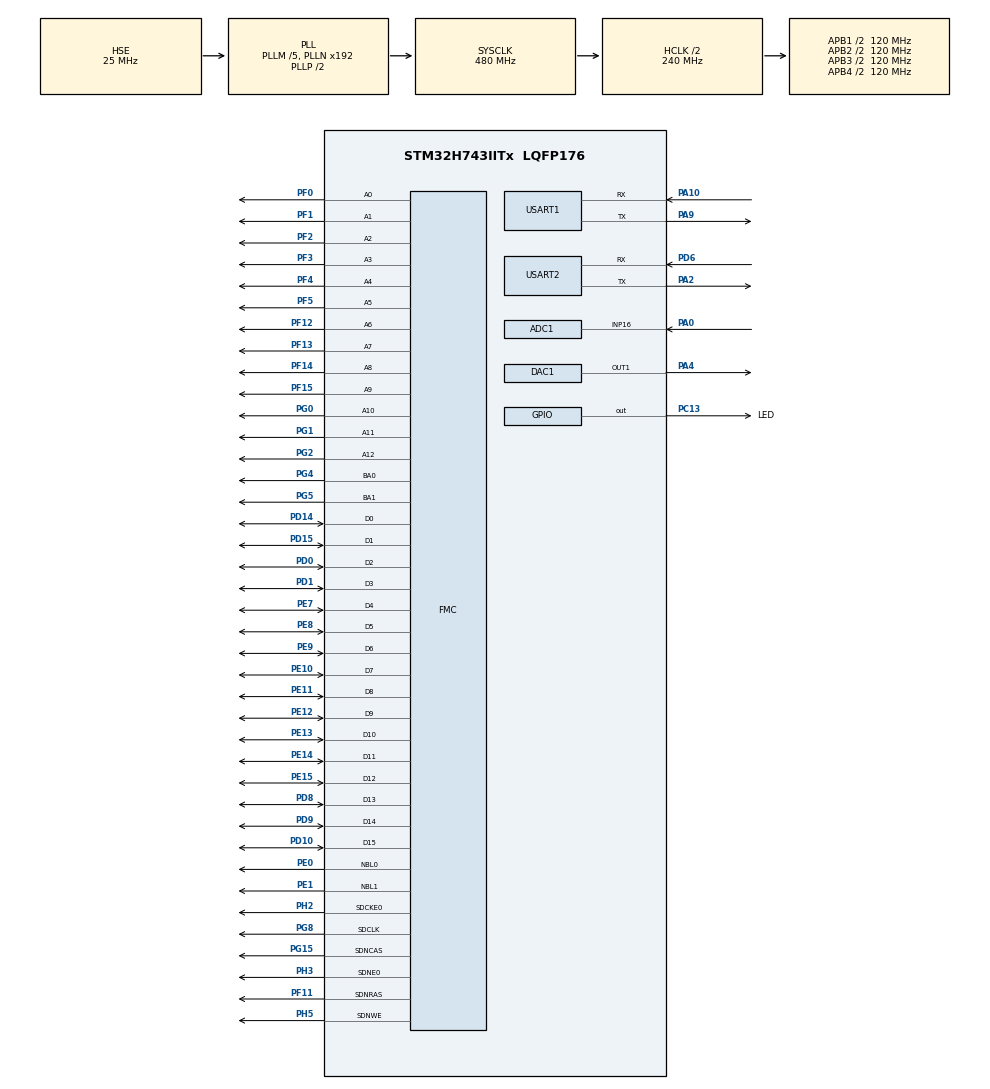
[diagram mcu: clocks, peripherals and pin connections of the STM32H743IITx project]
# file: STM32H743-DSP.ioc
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ADC1.Channel-0\#ChannelRegularConversion=ADC_CHANNEL_16
ADC1.ClockPrescaler=ADC_CLOCK_ASYNC_DIV2
ADC1.ConversionDataManagement=ADC_CONVERSIONDATA_DMA_CIRCULAR
ADC1.EOCSelection=ADC_EOC_SEQ_CONV
ADC1.ExternalTrigConv=ADC_EXTERNALTRIG_T8_TRGO
ADC1.NbrOfConversion=1
ADC1.NbrOfConversionFlag=1
ADC1.OffsetNumber-0\#ChannelRegularConversion=ADC_OFFSET_NONE
ADC1.OffsetSignedSaturation-0\#ChannelRegularConversion=DISABLE
ADC1.Rank-0\#ChannelRegularConversion=1
ADC1.SamplingTime-0\#ChannelRegularConversion=ADC_SAMPLETIME_64CYCLES_5
ADC1.master=1
CORTEX_M7.CPU_DCache=Enabled
CORTEX_M7.CPU_ICache=Enabled
CORTEX_M7.default_mode_Activation=1
DAC1.DAC_Channel-DAC_OUT1=DAC_CHANNEL_1
DAC1.DAC_Trigger-DAC_OUT1=DAC_TRIGGER_T8_TRGO
Dma.ADC1.0.Direction=DMA_PERIPH_TO_MEMORY
Dma.ADC1.0.EventEnable=DISABLE
Dma.ADC1.0.FIFOMode=DMA_FIFOMODE_DISABLE
Dma.ADC1.0.Instance=DMA1_Stream0
Dma.ADC1.0.MemDataAlignment=DMA_MDATAALIGN_HALFWORD
Dma.ADC1.0.MemInc=DMA_MINC_ENABLE
Dma.ADC1.0.Mode=DMA_CIRCULAR
Dma.ADC1.0.PeriphDataAlignment=DMA_PDATAALIGN_HALFWORD
Dma.ADC1.0.PeriphInc=DMA_PINC_DISABLE
Dma.ADC1.0.Polarity=HAL_DMAMUX_REQ_GEN_RISING
Dma.ADC1.0.Priority=DMA_PRIORITY_HIGH
Dma.ADC1.0.RequestNumber=1
Dma.ADC1.0.SignalID=NONE
Dma.ADC1.0.SyncEnable=DISABLE
Dma.ADC1.0.SyncPolarity=HAL_DMAMUX_SYNC_NO_EVENT
Dma.ADC1.0.SyncRequestNumber=1
Dma.ADC1.0.SyncSignalID=NONE
Dma.DAC1_CH1.1.Direction=DMA_MEMORY_TO_PERIPH
Dma.DAC1_CH1.1.EventEnable=DISABLE
Dma.DAC1_CH1.1.FIFOMode=DMA_FIFOMODE_DISABLE
Dma.DAC1_CH1.1.Instance=DMA1_Stream1
Dma.DAC1_CH1.1.MemDataAlignment=DMA_MDATAALIGN_HALFWORD
Dma.DAC1_CH1.1.MemInc=DMA_MINC_ENABLE
Dma.DAC1_CH1.1.Mode=DMA_CIRCULAR
Dma.DAC1_CH1.1.PeriphDataAlignment=DMA_PDATAALIGN_HALFWORD
Dma.DAC1_CH1.1.PeriphInc=DMA_PINC_DISABLE
Dma.DAC1_CH1.1.Polarity=HAL_DMAMUX_REQ_GEN_RISING
Dma.DAC1_CH1.1.Priority=DMA_PRIORITY_LOW
Dma.DAC1_CH1.1.RequestNumber=1
Dma.DAC1_CH1.1.SignalID=NONE
Dma.DAC1_CH1.1.SyncEnable=DISABLE
Dma.DAC1_CH1.1.SyncPolarity=HAL_DMAMUX_SYNC_NO_EVENT
Dma.DAC1_CH1.1.SyncRequestNumber=1
Dma.DAC1_CH1.1.SyncSignalID=NONE
Dma.Request0=ADC1
Dma.Request1=DAC1_CH1
FMC.CASLatency1=FMC_SDRAM_CAS_LATENCY_3
FMC.ColumnBitsNumber1=FMC_SDRAM_COLUMN_BITS_NUM_9
FMC.ExitSelfRefreshDelay1=7
FMC.LoadToActiveDelay1=2
FMC.RCDDelay1=2
FMC.RPDelay1=2
FMC.ReadBurst1=FMC_SDRAM_RBURST_ENABLE
FMC.ReadPipeDelay1=FMC_SDRAM_RPIPE_DELAY_2
FMC.RowCycleDelay1=7
FMC.SDClockPeriod1=FMC_SDRAM_CLOCK_PERIOD_2
FMC.SelfRefreshTime1=4
FMC.WriteRecoveryTime1=3
Mcu.Family=STM32H7
Mcu.Name=STM32H743IITx
Mcu.Package=LQFP176
NVIC.ADC_IRQn=true\:0\:0\:false\:false\:true\:true\:true\:true
NVIC.DMA1_Stream0_IRQn=true\:0\:0\:false\:false\:true\:false\:true\:true
NVIC.DMA1_Stream1_IRQn=true\:0\:0\:false\:false\:true\:false\:true\:true
NVIC.PriorityGroup=NVIC_PRIORITYGROUP_4
NVIC.TIM6_DAC_IRQn=true\:0\:0\:false\:false\:true\:true\:true\:true
NVIC.USART1_IRQn=true\:0\:0\:false\:false\:true\:true\:true\:true
NVIC.USART2_IRQn=true\:0\:0\:false\:false\:true\:true\:true\:true
PA0.Mode=IN16-Single-Ended
PA0.Signal=ADC1_INP16
PA10.Mode=Asynchronous
PA10.Signal=USART1_RX
PA13\ (JTMS/SWDIO).Mode=Serial_Wire
PA13\ (JTMS/SWDIO).Signal=DEBUG_JTMS-SWDIO
PA14\ (JTCK/SWCLK).Mode=Serial_Wire
PA14\ (JTCK/SWCLK).Signal=DEBUG_JTCK-SWCLK
PA2.GPIO_Speed=GPIO_SPEED_FREQ_HIGH
PA2.Mode=Asynchronous
PA2.Signal=USART2_TX
PA4.Signal=COMP_DAC11_group
PA9.Mode=Asynchronous
PA9.Signal=USART1_TX
PC13.GPIO_Label=LED
PC13.Signal=GPIO_Output
PD0.Signal=FMC_D2_DA2
PD1.Signal=FMC_D3_DA3
PD10.Signal=FMC_D15_DA15
PD14.Signal=FMC_D0_DA0
PD15.Signal=FMC_D1_DA1
PD6.GPIO_Speed=GPIO_SPEED_FREQ_HIGH
PD6.Mode=Asynchronous
PD6.Signal=USART2_RX
PD8.Signal=FMC_D13_DA13
PD9.Signal=FMC_D14_DA14
PE0.Signal=FMC_NBL0
PE1.Signal=FMC_NBL1
PE10.Signal=FMC_D7_DA7
PE11.Signal=FMC_D8_DA8
PE12.Signal=FMC_D9_DA9
PE13.Signal=FMC_D10_DA10
PE14.Signal=FMC_D11_DA11
PE15.Signal=FMC_D12_DA12
PE7.Signal=FMC_D4_DA4
PE8.Signal=FMC_D5_DA5
PE9.Signal=FMC_D6_DA6
PF0.Signal=FMC_A0
PF1.Signal=FMC_A1
PF11.Signal=FMC_SDNRAS
PF12.Signal=FMC_A6
PF13.Signal=FMC_A7
PF14.Signal=FMC_A8
PF15.Signal=FMC_A9
PF2.Signal=FMC_A2
PF3.Signal=FMC_A3
PF4.Signal=FMC_A4
PF5.Signal=FMC_A5
PG0.Signal=FMC_A10
PG1.Signal=FMC_A11
PG15.Signal=FMC_SDNCAS
PG2.Signal=FMC_A12
PG4.Signal=FMC_A14_BA0
PG5.Signal=FMC_A15_BA1
PG8.Signal=FMC_SDCLK
PH0-OSC_IN\ (PH0).Mode=HSE-External-Oscillator
PH0-OSC_IN\ (PH0).Signal=RCC_OSC_IN
PH1-OSC_OUT\ (PH1).Mode=HSE-External-Oscillator
PH1-OSC_OUT\ (PH1).Signal=RCC_OSC_OUT
PH2.Mode=SdramChipSelect1_1
PH2.Signal=FMC_SDCKE0
PH3.Mode=SdramChipSelect1_1
PH3.Signal=FMC_SDNE0
PH5.Signal=FMC_SDNWE
ProjectManager.HeapSize=0x200
ProjectManager.StackSize=0x400
ProjectManager.TargetToolchain=STM32CubeIDE
RCC.ADCCLockSelection=RCC_ADCCLKSOURCE_CLKP
RCC.ADCFreq_Value=64000000
RCC.APB1Freq_Value=120000000
RCC.APB2Freq_Value=120000000
RCC.APB3Freq_Value=120000000
RCC.APB4Freq_Value=120000000
RCC.CortexFreq_Value=480000000
RCC.D1PPRE=RCC_APB3_DIV2
RCC.D2PPRE1=RCC_APB1_DIV2
RCC.D2PPRE2=RCC_APB2_DIV2
RCC.D3PPRE=RCC_APB4_DIV2
RCC.DIVM1=5
RCC.DIVN1=192
RCC.HCLKFreq_Value=240000000
RCC.HPRE=RCC_HCLK_DIV2
RCC.PLL2FRACN=0
RCC.PLL3FRACN=0
RCC.PLLFRACN=0
RCC.PLLSourceVirtual=RCC_PLLSOURCE_HSE
RCC.SYSCLKFreq_VALUE=480000000
RCC.SYSCLKSource=RCC_SYSCLKSOURCE_PLLCLK
RCC.USBFreq_Value=480000000
SH.COMP_DAC11_group.0=DAC1_OUT1,DAC_OUT1
SH.FMC_A0.0=FMC_A0,13b-sda1
SH.FMC_A1.0=FMC_A1,13b-sda1
SH.FMC_A10.0=FMC_A10,13b-sda1
SH.FMC_A11.0=FMC_A11,13b-sda1
SH.FMC_A12.0=FMC_A12,13b-sda1
SH.FMC_A14_BA0.0=FMC_BA0,FourSdramBanks1
SH.FMC_A15_BA1.0=FMC_BA1,FourSdramBanks1
SH.FMC_A2.0=FMC_A2,13b-sda1
SH.FMC_A3.0=FMC_A3,13b-sda1
SH.FMC_A4.0=FMC_A4,13b-sda1
SH.FMC_A5.0=FMC_A5,13b-sda1
SH.FMC_A6.0=FMC_A6,13b-sda1
SH.FMC_A7.0=FMC_A7,13b-sda1
SH.FMC_A8.0=FMC_A8,13b-sda1
SH.FMC_A9.0=FMC_A9,13b-sda1
SH.FMC_D0_DA0.0=FMC_D0,sd-16b-d1
SH.FMC_D10_DA10.0=FMC_D10,sd-16b-d1
SH.FMC_D11_DA11.0=FMC_D11,sd-16b-d1
SH.FMC_D12_DA12.0=FMC_D12,sd-16b-d1
SH.FMC_D13_DA13.0=FMC_D13,sd-16b-d1
SH.FMC_D14_DA14.0=FMC_D14,sd-16b-d1
SH.FMC_D15_DA15.0=FMC_D15,sd-16b-d1
SH.FMC_D1_DA1.0=FMC_D1,sd-16b-d1
SH.FMC_D2_DA2.0=FMC_D2,sd-16b-d1
SH.FMC_D3_DA3.0=FMC_D3,sd-16b-d1
SH.FMC_D4_DA4.0=FMC_D4,sd-16b-d1
SH.FMC_D5_DA5.0=FMC_D5,sd-16b-d1
SH.FMC_D6_DA6.0=FMC_D6,sd-16b-d1
SH.FMC_D7_DA7.0=FMC_D7,sd-16b-d1
SH.FMC_D8_DA8.0=FMC_D8,sd-16b-d1
SH.FMC_D9_DA9.0=FMC_D9,sd-16b-d1
SH.FMC_NBL0.0=FMC_NBL0,Sd2ByteEnable1
SH.FMC_NBL1.0=FMC_NBL1,Sd2ByteEnable1
SH.FMC_SDCLK.0=FMC_SDCLK,13b-sda1
SH.FMC_SDNCAS.0=FMC_SDNCAS,13b-sda1
SH.FMC_SDNRAS.0=FMC_SDNRAS,13b-sda1
SH.FMC_SDNWE.0=FMC_SDNWE,13b-sda1
TIM8.Period=100-1
TIM8.Prescaler=50-1
TIM8.TIM_MasterOutputTrigger=TIM_TRGO_UPDATE
USART1.VirtualMode-Asynchronous=VM_ASYNC
USART2.VirtualMode-Asynchronous=VM_ASYNC
VP_MEMORYMAP_VS_MEMORYMAP.Mode=CurAppReg
VP_TIM8_VS_ClockSourceINT.Mode=Internal
board=custom

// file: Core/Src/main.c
/* USER CODE BEGIN Header */
/**
  ******************************************************************************
  * @file           : main.c
  * @brief          : Main program body
  ******************************************************************************
  * @attention
  *
  * Copyright (c) 2025 STMicroelectronics.
  * All rights reserved.
  *
  * This software is licensed under terms that can be found in the LICENSE file
  * in the root directory of this software component.
  * If no LICENSE file comes with this software, it is provided AS-IS.
  *
  ******************************************************************************
  */
/* USER CODE END Header */
#include "main.h"

/* USER CODE BEGIN Includes */

#include "_MULTI_FX.h"

/* USER CODE END Includes */

ADC_HandleTypeDef hadc1;
DMA_HandleTypeDef hdma_adc1;

DAC_HandleTypeDef hdac1;
DMA_HandleTypeDef hdma_dac1_ch1;

TIM_HandleTypeDef htim8;

UART_HandleTypeDef huart1;
UART_HandleTypeDef huart2;

SDRAM_HandleTypeDef hsdram1;

/* USER CODE BEGIN PV */

SET_RAM_D3 pipe apipe;

SET_RAM_D3 dataLink link;

FX_HANDLER_t fx_handle_0,
             fx_handle_1,
             fx_handle_2,
             fx_handle_3,
             fx_handle_4,
			 fx_handle_5,
			 fx_handle_6,
			 fx_handle_7,
			 fx_handle_8,
			 fx_handle_9;

FX_HANDLER_t *nodes[MAX_NODES];

float32_t* (*fx_param[])(FX_HANDLER_t *fx ) =
{
     fx_reverb_parameters,
     fx_cabinet_parameters,
     fx_supro_parameters,
     fx_phaser_parameters,
     fx_chorus_parameters,
     fx_null_parameters
};

void (*fx_init[])(FX_HANDLER_t *fx ) =
{
     fx_reverb_init,
     fx_cabinet_init,
     fx_supro_init,
     fx_phaser_init,
     fx_chorus_init,
     fx_null_init
};

//uint8_t effectOrder[3] = {0,   1, 2};
//uint8_t sourceOrder[3] = {255, 0, 1};

uint32_t testCounter = 0;

SET_RAM_D3 uint8_t order[MAX_NODES];

uint8_t uartRxIndex = 0;

arm_rfft_fast_instance_f32 fft;

volatile float32_t noise_thresh = 0.0005;
volatile float32_t sum_of_squares = 0;

volatile  uint32_t clipLedDeadline = 0;   // “turn off” time in ms
volatile  bool     clipLedActive   = false;

static 	 uint16_t  adcInput[BUFFER_SIZE  * 2];
static	 uint16_t  dacOutput[BUFFER_SIZE * 2];

SET_RAM_D3 static	uint8_t rxRecieve[2];
SET_RAM_D3 static	uint8_t UARTrxBuffer[UART_BUFFER_SIZE];
/* USER CODE END PV */

void SystemClock_Config(void);
void PeriphCommonClock_Config(void);
static void MPU_Config(void);
static void MX_GPIO_Init(void);
static void MX_DMA_Init(void);
static void MX_ADC1_Init(void);
static void MX_TIM8_Init(void);
static void MX_DAC1_Init(void);
static void MX_FMC_Init(void);
static void MX_USART1_UART_Init(void);
static void MX_USART2_UART_Init(void);

/* USER CODE BEGIN 0 */

void HAL_ADC_ConvHalfCpltCallback(ADC_HandleTypeDef *hadc)
{
    // DMA has written into adcInput[0…BUFFER_SIZE-1]
    SCB_InvalidateDCache_by_Addr((uint32_t*)adcInput,
                                 BUFFER_SIZE * sizeof(adcInput[0]));
    apipe.adcHalfComplete(&apipe, adcInput);
}

void HAL_ADC_ConvCpltCallback(ADC_HandleTypeDef *hadc)
{
    // DMA has written into adcInput[BUFFER_SIZE…2*BUFFER_SIZE-1]
    SCB_InvalidateDCache_by_Addr((uint32_t*)&adcInput[BUFFER_SIZE],
                                 BUFFER_SIZE * sizeof(adcInput[0]));
    apipe.adcComplete(&apipe, adcInput);
}

volatile unsigned long now = 0;

void HAL_UART_RxCpltCallback(UART_HandleTypeDef *huart)
{

	if (huart == &huart2)
	{
		char received = rxRecieve[0];

		link.readUART(&link, received);

		UARTrxBuffer[uartRxIndex++] = received;

		if (uartRxIndex >= UART_BUFFER_SIZE)
		{
			uartRxIndex = 0;
		}

		testCounter++;

		HAL_UART_Receive_IT(&huart2, rxRecieve, 1);
	}
}

#include <stdlib.h>    // for rand(), srand()

/* USER CODE END 0 */

int main(void)
{

  /* MPU Configuration--------------------------------------------------------*/
  MPU_Config();

  /* Enable the CPU Cache */

  /* Enable I-Cache---------------------------------------------------------*/
  SCB_EnableICache();

  /* Enable D-Cache---------------------------------------------------------*/
  SCB_EnableDCache();

  /* MCU Configuration--------------------------------------------------------*/

  /* Reset of all peripherals, Initializes the Flash interface and the Systick. */
  HAL_Init();

  /* Configure the system clock */
  SystemClock_Config();

  /* Configure the peripherals common clocks */
  PeriphCommonClock_Config();

  /* Initialize all configured peripherals */
  MX_GPIO_Init();
  MX_DMA_Init();
  MX_ADC1_Init();
  MX_TIM8_Init();
  MX_DAC1_Init();
  MX_FMC_Init();
  MX_USART1_UART_Init();
  MX_USART2_UART_Init();
  /* USER CODE BEGIN 2 */
  SCB_EnableDCache();
  SCB_EnableICache();

  dctm_pool_init();
  static_pool_init();

  initDataLink(&link);

  arm_rfft_fast_init_f32(&fft, FFT_SIZE);

  HAL_ADCEx_Calibration_Start(&hadc1, ADC_CALIB_OFFSET, ADC_SINGLE_ENDED);

  HAL_ADC_Start_DMA(&hadc1, (uint32_t*)adcInput, BUFFER_SIZE*2);

  HAL_DAC_Start_DMA(&hdac1, DAC_CHANNEL_1, (uint32_t*)dacOutput, BUFFER_SIZE*2, DAC_ALIGN_12B_R);

  HAL_TIM_Base_Start(&htim8);

  HAL_UART_Receive_IT(&huart2, rxRecieve, 1);

  nodes[0] = &fx_handle_0;
  nodes[1] = &fx_handle_1;
  nodes[2] = &fx_handle_2;
  nodes[3] = &fx_handle_3;
  nodes[4] = &fx_handle_4;
  nodes[5] = &fx_handle_5;
  nodes[6] = &fx_handle_6;
  nodes[7] = &fx_handle_7;
  nodes[8] = &fx_handle_8;
  nodes[9] = &fx_handle_9;

  srand(HAL_GetTick());  // seed the PRNG

  pipeInit(&apipe);

  /*nodes[0]->type = FX_REVERB;
  nodes[1]->type = FX_CABINET;
  nodes[2]->type = FX_SUPRO;
  nodes[3]->type = FX_PHASOR;
  nodes[4]->type = FX_CHORUS;
  nodes[5]->type = FX_NULL;*/
  for (int i = 0 ; i< MAX_NODES ; ++i)
  {
	  nodes[i]->type = FX_NULL;
  }

  // function init for loop
  for (int i = 0 ; i< MAX_NODES ; ++i) { // i < MAX_NODES
		 fx_init[nodes[i]->type](nodes[i]);
  }
/*
  float32_t passed_params[3] = {0.8 , 0.01, 2.0};
   float32_t phaser_params[3] = {0.5, 0.1, 1.5};

   for( int i = 0; i < nodes[4]->num_params ; ++i) {
 	  if( FX_NULL(nodes[4]) != NULL )
 		  FX_PARAM(nodes[4], i) = passed_params[i];
   }

   for( int i = 0; i < nodes[3]->num_params ; ++i) {
 	  if( FX_NULL(nodes[3]) != NULL )
 		  FX_PARAM(nodes[3], i) = phaser_params[i];
   }*/

  link.nodeCount = 2;
  link.nodes[0].nodeId = 0;
  link.nodes[0].effectId = 2;
  link.nodes[0].numInputs = 1;
  link.nodes[0].inputs[0] = 254;
  link.nodes[1].nodeId = 1;
  link.nodes[1].effectId = 1;
  link.nodes[1].numInputs = 1;
  link.nodes[1].inputs[0] = 0;

  link.nodes[2].nodeId = 2;
  link.nodes[2].effectId = 5;
  link.nodes[2].numInputs = 1;
  link.nodes[2].inputs[0] = 1;
  link.nodes[3].nodeId = 3;
  link.nodes[3].effectId = 5;
  link.nodes[3].numInputs = 1;
  link.nodes[3].inputs[0] = 2;
  link.nodes[4].nodeId = 4;
  link.nodes[4].effectId = 5;
  link.nodes[4].numInputs = 1;
  link.nodes[4].inputs[0] = 3;
  link.nodes[5].nodeId = 5;
  link.nodes[5].effectId = 5;
  link.nodes[5].numInputs = 1;
  link.nodes[5].inputs[0] = 4;
  link.processOrder[0] = 0;
  link.processOrder[1] = 1;
  link.processOrder[2] = 2;
  link.processOrder[3] = 3;
  link.processOrder[4] = 4;
  link.processOrder[5] = 5;
  link.needsRefresh = 0;

  /* USER CODE END 2 */

  /* Infinite loop */
  while (1)
  {

    /* USER CODE BEGIN 3 */
	  if (apipe.bufferReady)
	  {
		 //apipe.updateDelayBuffer(&apipe);

         for (int i = 0; i < BUFFER_SIZE; i++) {
            sum_of_squares += apipe.inBuffer[i] * apipe.inBuffer[i];

                if (apipe.inBuffer[i] >= 0.999 || apipe.inBuffer[i] <= -0.999) {
                    if (!clipLedActive) {              // LED currently OFF
                        HAL_GPIO_WritePin(GPIOC, GPIO_PIN_13, GPIO_PIN_RESET); // LED ON
                        clipLedActive   = true;
                        clipLedDeadline = HAL_GetTick() + 1000UL;  // now + 1000 ms
                    }
                }
         }

         if (( sum_of_squares / BUFFER_SIZE) < noise_thresh){
             arm_fill_f32(0.0f, apipe.inBuffer, BUFFER_SIZE);
         }

         apipe.loadProcess(&apipe);

         sum_of_squares = 0;

		 HAL_GPIO_WritePin(GPIOC, GPIO_PIN_3, GPIO_PIN_RESET);

		 /*for(int j = 0; j < 5 ; ++j ) {
			  for( int i = 0; i < nodes[j]->num_params ; ++i) {
				  if( FX_NULL(nodes[j]) != NULL )
					   FX_PARAM(nodes[j], i) = link.nodes[j].params[i];
			  }
		  }*/
		if(!link.needsRefresh)
		 {
			 for (int i = 0 ; i < link.nodeCount ; i++) // i < MAX_NODES
			 {
				apipe.primeProcess(&apipe, link.nodes[link.processOrder[i]].inputs[0], link.processOrder[i]);

				nodes[link.processOrder[i]]->process(nodes[link.processOrder[i]], &apipe);
			 }
		 }
			 /*for (int i = 0 ; i < link.nodeCount ; ++i) // i < MAX_NODES
			 {
				apipe.primeProcess(&apipe, sourceOrder[i], effectOrder[i]);

				nodes[effectOrder[i]]->process(nodes[effectOrder[i]], &apipe);
			 }
		 /*for (int i = 0 ; i < 6 ; i++) // i < MAX_NODES
		 {
			//apipe.primeProcess(&apipe, link.nodes[link.processOrder[i]].inputs[0], link.processOrder[i]);

			nodes[link.nodes[link.processOrder[i]].effectId]->process(nodes[link.nodes[link.processOrder[i]].effectId], &apipe);

		 }*/

		 arm_copy_f32(apipe.processBuffer, apipe.outBuffer, BUFFER_SIZE);

		 apipe.updateDACOutput(&apipe, dacOutput);
		 SCB_CleanDCache_by_Addr((uint32_t*)dacOutput, BUFFER_SIZE*2 * sizeof(dacOutput[0]));

		 apipe.bufferReady = false;

		// volatile GPIO_PinState trig = HAL_GPIO_ReadPin(GPIOC, GPIO_PIN_3);

		 // on rising edge (HIGH && previously armed), do your clean
		/* if (trig == GPIO_PIN_SET) {

		     //nodes[i]->clean(nodes[0])

    	    for (int i = 0 ; i< link.nodeCount  ; ++i) { // i < MAX_NODES
    	    	  nodes[i]->clean(nodes[i]);
    	    }

		     dctm_pool_init();
		     static_pool_init();

		     memset(apipe.processBuffer, 0,  BUFFER_SIZE *sizeof(apipe.processBuffer[0]));

			 volatile uint32_t idx1 = rand() % 3;
			 volatile uint32_t idx2 = rand() % 3;
			 volatile uint32_t idx3 = rand() % 3;

		     nodes[idx1]->type = FX_SUPRO;
		     nodes[idx2]->type = FX_CABINET;
		     nodes[idx3]->type = FX_SUPRO;

		     // function init for loop
		    for (int i = 0 ; i < link.nodeCount  ; i++) { // i < MAX_NODES
		   		 fx_init[nodes[i]->type](nodes[i]);
		    }

		 }*/

		 if (link.needsRefresh == 1)
		 {

			 link.needsRefresh = 0;

			 topoSort(&link, order);

			 for (int i = 0 ; i< 6 ; i++)
			 { // i < MAX_NODES
				 nodes[i]->clean(nodes[i]);
			 }
			 dctm_pool_init();
			 static_pool_init();

			 for (int i = 0 ; i < 6  ; i++)
			 {

				 nodes[i]->type = link.nodes[i].effectId;

				 fx_init[nodes[i]->type](nodes[i]);

			 }

		        if (clipLedActive && (int32_t)(HAL_GetTick() - clipLedDeadline) >= 0) {
		            HAL_GPIO_WritePin(GPIOC, GPIO_PIN_13, GPIO_PIN_SET);   // LED OFF
		            clipLedActive = false;
		        }

		 }

	  }
	  else
	  {
	      __WFI();
	  }

	  }

  /* USER CODE END 3 */
}

void SystemClock_Config(void)
{
  RCC_OscInitTypeDef RCC_OscInitStruct = {0};
  RCC_ClkInitTypeDef RCC_ClkInitStruct = {0};

  /** Supply configuration update enable
  */
  HAL_PWREx_ConfigSupply(PWR_LDO_SUPPLY);

  /** Configure the main internal regulator output voltage
  */
  __HAL_PWR_VOLTAGESCALING_CONFIG(PWR_REGULATOR_VOLTAGE_SCALE0);

  while(!__HAL_PWR_GET_FLAG(PWR_FLAG_VOSRDY)) {}

  /** Initializes the RCC Oscillators according to the specified parameters
  * in the RCC_OscInitTypeDef structure.
  */
  RCC_OscInitStruct.OscillatorType = RCC_OSCILLATORTYPE_HSI|RCC_OSCILLATORTYPE_HSE;
  RCC_OscInitStruct.HSEState = RCC_HSE_ON;
  RCC_OscInitStruct.HSIState = RCC_HSI_DIV1;
  RCC_OscInitStruct.HSICalibrationValue = RCC_HSICALIBRATION_DEFAULT;
  RCC_OscInitStruct.PLL.PLLState = RCC_PLL_ON;
  RCC_OscInitStruct.PLL.PLLSource = RCC_PLLSOURCE_HSE;
  RCC_OscInitStruct.PLL.PLLM = 5;
  RCC_OscInitStruct.PLL.PLLN = 192;
  RCC_OscInitStruct.PLL.PLLP = 2;
  RCC_OscInitStruct.PLL.PLLQ = 2;
  RCC_OscInitStruct.PLL.PLLR = 2;
  RCC_OscInitStruct.PLL.PLLRGE = RCC_PLL1VCIRANGE_2;
  RCC_OscInitStruct.PLL.PLLVCOSEL = RCC_PLL1VCOWIDE;
  RCC_OscInitStruct.PLL.PLLFRACN = 0;
  if (HAL_RCC_OscConfig(&RCC_OscInitStruct) != HAL_OK)
  {
    Error_Handler();
  }

  /** Initializes the CPU, AHB and APB buses clocks
  */
  RCC_ClkInitStruct.ClockType = RCC_CLOCKTYPE_HCLK|RCC_CLOCKTYPE_SYSCLK
                              |RCC_CLOCKTYPE_PCLK1|RCC_CLOCKTYPE_PCLK2
                              |RCC_CLOCKTYPE_D3PCLK1|RCC_CLOCKTYPE_D1PCLK1;
  RCC_ClkInitStruct.SYSCLKSource = RCC_SYSCLKSOURCE_PLLCLK;
  RCC_ClkInitStruct.SYSCLKDivider = RCC_SYSCLK_DIV1;
  RCC_ClkInitStruct.AHBCLKDivider = RCC_HCLK_DIV2;
  RCC_ClkInitStruct.APB3CLKDivider = RCC_APB3_DIV2;
  RCC_ClkInitStruct.APB1CLKDivider = RCC_APB1_DIV2;
  RCC_ClkInitStruct.APB2CLKDivider = RCC_APB2_DIV2;
  RCC_ClkInitStruct.APB4CLKDivider = RCC_APB4_DIV2;

  if (HAL_RCC_ClockConfig(&RCC_ClkInitStruct, FLASH_LATENCY_4) != HAL_OK)
  {
    Error_Handler();
  }
}

void PeriphCommonClock_Config(void)
{
  RCC_PeriphCLKInitTypeDef PeriphClkInitStruct = {0};

  /** Initializes the peripherals clock
  */
  PeriphClkInitStruct.PeriphClockSelection = RCC_PERIPHCLK_CKPER;
  PeriphClkInitStruct.CkperClockSelection = RCC_CLKPSOURCE_HSI;
  if (HAL_RCCEx_PeriphCLKConfig(&PeriphClkInitStruct) != HAL_OK)
  {
    Error_Handler();
  }
}

static void MX_ADC1_Init(void)
{

  ADC_MultiModeTypeDef multimode = {0};
  ADC_ChannelConfTypeDef sConfig = {0};

  /** Common config
  */
  hadc1.Instance = ADC1;
  hadc1.Init.ClockPrescaler = ADC_CLOCK_ASYNC_DIV2;
  hadc1.Init.Resolution = ADC_RESOLUTION_16B;
  hadc1.Init.ScanConvMode = ADC_SCAN_DISABLE;
  hadc1.Init.EOCSelection = ADC_EOC_SEQ_CONV;
  hadc1.Init.LowPowerAutoWait = DISABLE;
  hadc1.Init.ContinuousConvMode = DISABLE;
  hadc1.Init.NbrOfConversion = 1;
  hadc1.Init.DiscontinuousConvMode = DISABLE;
  hadc1.Init.ExternalTrigConv = ADC_EXTERNALTRIG_T8_TRGO;
  hadc1.Init.ExternalTrigConvEdge = ADC_EXTERNALTRIGCONVEDGE_RISING;
  hadc1.Init.ConversionDataManagement = ADC_CONVERSIONDATA_DMA_CIRCULAR;
  hadc1.Init.Overrun = ADC_OVR_DATA_PRESERVED;
  hadc1.Init.LeftBitShift = ADC_LEFTBITSHIFT_NONE;
  hadc1.Init.OversamplingMode = DISABLE;
  hadc1.Init.Oversampling.Ratio = 1;
  if (HAL_ADC_Init(&hadc1) != HAL_OK)
  {
    Error_Handler();
  }

  /** Configure the ADC multi-mode
  */
  multimode.Mode = ADC_MODE_INDEPENDENT;
  if (HAL_ADCEx_MultiModeConfigChannel(&hadc1, &multimode) != HAL_OK)
  {
    Error_Handler();
  }

  /** Configure Regular Channel
  */
  sConfig.Channel = ADC_CHANNEL_16;
  sConfig.Rank = ADC_REGULAR_RANK_1;
  sConfig.SamplingTime = ADC_SAMPLETIME_64CYCLES_5;
  sConfig.SingleDiff = ADC_SINGLE_ENDED;
  sConfig.OffsetNumber = ADC_OFFSET_NONE;
  sConfig.Offset = 0;
  sConfig.OffsetSignedSaturation = DISABLE;
  if (HAL_ADC_ConfigChannel(&hadc1, &sConfig) != HAL_OK)
  {
    Error_Handler();
  }

}

static void MX_DAC1_Init(void)
{

  DAC_ChannelConfTypeDef sConfig = {0};

  /** DAC Initialization
  */
  hdac1.Instance = DAC1;
  if (HAL_DAC_Init(&hdac1) != HAL_OK)
  {
    Error_Handler();
  }

  /** DAC channel OUT1 config
  */
  sConfig.DAC_SampleAndHold = DAC_SAMPLEANDHOLD_DISABLE;
  sConfig.DAC_Trigger = DAC_TRIGGER_T8_TRGO;
  sConfig.DAC_OutputBuffer = DAC_OUTPUTBUFFER_ENABLE;
  sConfig.DAC_ConnectOnChipPeripheral = DAC_CHIPCONNECT_DISABLE;
  sConfig.DAC_UserTrimming = DAC_TRIMMING_FACTORY;
  if (HAL_DAC_ConfigChannel(&hdac1, &sConfig, DAC_CHANNEL_1) != HAL_OK)
  {
    Error_Handler();
  }

}

static void MX_TIM8_Init(void)
{

  TIM_ClockConfigTypeDef sClockSourceConfig = {0};
  TIM_MasterConfigTypeDef sMasterConfig = {0};

  htim8.Instance = TIM8;
  htim8.Init.Prescaler = 50-1;
  htim8.Init.CounterMode = TIM_COUNTERMODE_UP;
  htim8.Init.Period = 100-1;
  htim8.Init.ClockDivision = TIM_CLOCKDIVISION_DIV1;
  htim8.Init.RepetitionCounter = 0;
  htim8.Init.AutoReloadPreload = TIM_AUTORELOAD_PRELOAD_DISABLE;
  if (HAL_TIM_Base_Init(&htim8) != HAL_OK)
  {
    Error_Handler();
  }
  sClockSourceConfig.ClockSource = TIM_CLOCKSOURCE_INTERNAL;
  if (HAL_TIM_ConfigClockSource(&htim8, &sClockSourceConfig) != HAL_OK)
  {
    Error_Handler();
  }
  sMasterConfig.MasterOutputTrigger = TIM_TRGO_UPDATE;
  sMasterConfig.MasterOutputTrigger2 = TIM_TRGO2_RESET;
  sMasterConfig.MasterSlaveMode = TIM_MASTERSLAVEMODE_DISABLE;
  if (HAL_TIMEx_MasterConfigSynchronization(&htim8, &sMasterConfig) != HAL_OK)
  {
    Error_Handler();
  }

}

static void MX_USART1_UART_Init(void)
{

  huart1.Instance = USART1;
  huart1.Init.BaudRate = 115200;
  huart1.Init.WordLength = UART_WORDLENGTH_8B;
  huart1.Init.StopBits = UART_STOPBITS_1;
  huart1.Init.Parity = UART_PARITY_NONE;
  huart1.Init.Mode = UART_MODE_TX_RX;
  huart1.Init.HwFlowCtl = UART_HWCONTROL_NONE;
  huart1.Init.OverSampling = UART_OVERSAMPLING_16;
  huart1.Init.OneBitSampling = UART_ONE_BIT_SAMPLE_DISABLE;
  huart1.Init.ClockPrescaler = UART_PRESCALER_DIV1;
  huart1.AdvancedInit.AdvFeatureInit = UART_ADVFEATURE_NO_INIT;
  if (HAL_UART_Init(&huart1) != HAL_OK)
  {
    Error_Handler();
  }
  if (HAL_UARTEx_SetTxFifoThreshold(&huart1, UART_TXFIFO_THRESHOLD_1_8) != HAL_OK)
  {
    Error_Handler();
  }
  if (HAL_UARTEx_SetRxFifoThreshold(&huart1, UART_RXFIFO_THRESHOLD_1_8) != HAL_OK)
  {
    Error_Handler();
  }
  if (HAL_UARTEx_DisableFifoMode(&huart1) != HAL_OK)
  {
    Error_Handler();
  }

}

static void MX_USART2_UART_Init(void)
{

  huart2.Instance = USART2;
  huart2.Init.BaudRate = 115200;
  huart2.Init.WordLength = UART_WORDLENGTH_8B;
  huart2.Init.StopBits = UART_STOPBITS_1;
  huart2.Init.Parity = UART_PARITY_NONE;
  huart2.Init.Mode = UART_MODE_TX_RX;
  huart2.Init.HwFlowCtl = UART_HWCONTROL_NONE;
  huart2.Init.OverSampling = UART_OVERSAMPLING_16;
  huart2.Init.OneBitSampling = UART_ONE_BIT_SAMPLE_DISABLE;
  huart2.Init.ClockPrescaler = UART_PRESCALER_DIV1;
  huart2.AdvancedInit.AdvFeatureInit = UART_ADVFEATURE_NO_INIT;
  if (HAL_UART_Init(&huart2) != HAL_OK)
  {
    Error_Handler();
  }
  if (HAL_UARTEx_SetTxFifoThreshold(&huart2, UART_TXFIFO_THRESHOLD_1_8) != HAL_OK)
  {
    Error_Handler();
  }
  if (HAL_UARTEx_SetRxFifoThreshold(&huart2, UART_RXFIFO_THRESHOLD_1_8) != HAL_OK)
  {
    Error_Handler();
  }
  if (HAL_UARTEx_DisableFifoMode(&huart2) != HAL_OK)
  {
    Error_Handler();
  }

}

static void MX_DMA_Init(void)
{

  /* DMA controller clock enable */
  __HAL_RCC_DMA1_CLK_ENABLE();

  /* DMA interrupt init */
  /* DMA1_Stream0_IRQn interrupt configuration */
  HAL_NVIC_SetPriority(DMA1_Stream0_IRQn, 0, 0);
  HAL_NVIC_EnableIRQ(DMA1_Stream0_IRQn);
  /* DMA1_Stream1_IRQn interrupt configuration */
  HAL_NVIC_SetPriority(DMA1_Stream1_IRQn, 0, 0);
  HAL_NVIC_EnableIRQ(DMA1_Stream1_IRQn);

}

/* FMC initialization function */
static void MX_FMC_Init(void)
{

  FMC_SDRAM_TimingTypeDef SdramTiming = {0};

  /** Perform the SDRAM1 memory initialization sequence
  */
  hsdram1.Instance = FMC_SDRAM_DEVICE;
  /* hsdram1.Init */
  hsdram1.Init.SDBank = FMC_SDRAM_BANK1;
  hsdram1.Init.ColumnBitsNumber = FMC_SDRAM_COLUMN_BITS_NUM_9;
  hsdram1.Init.RowBitsNumber = FMC_SDRAM_ROW_BITS_NUM_13;
  hsdram1.Init.MemoryDataWidth = FMC_SDRAM_MEM_BUS_WIDTH_16;
  hsdram1.Init.InternalBankNumber = FMC_SDRAM_INTERN_BANKS_NUM_4;
  hsdram1.Init.CASLatency = FMC_SDRAM_CAS_LATENCY_3;
  hsdram1.Init.WriteProtection = FMC_SDRAM_WRITE_PROTECTION_DISABLE;
  hsdram1.Init.SDClockPeriod = FMC_SDRAM_CLOCK_PERIOD_2;
  hsdram1.Init.ReadBurst = FMC_SDRAM_RBURST_ENABLE;
  hsdram1.Init.ReadPipeDelay = FMC_SDRAM_RPIPE_DELAY_2;
  /* SdramTiming */
  SdramTiming.LoadToActiveDelay = 2;
  SdramTiming.ExitSelfRefreshDelay = 7;
  SdramTiming.SelfRefreshTime = 4;
  SdramTiming.RowCycleDelay = 7;
  SdramTiming.WriteRecoveryTime = 3;
  SdramTiming.RPDelay = 2;
  SdramTiming.RCDDelay = 2;

  if (HAL_SDRAM_Init(&hsdram1, &SdramTiming) != HAL_OK)
  {
    Error_Handler( );
  }

}

static void MX_GPIO_Init(void)
{
  GPIO_InitTypeDef GPIO_InitStruct = {0};

  /* GPIO Ports Clock Enable */
  __HAL_RCC_GPIOC_CLK_ENABLE();
  __HAL_RCC_GPIOF_CLK_ENABLE();
  __HAL_RCC_GPIOH_CLK_ENABLE();
  __HAL_RCC_GPIOA_CLK_ENABLE();
  __HAL_RCC_GPIOG_CLK_ENABLE();
  __HAL_RCC_GPIOE_CLK_ENABLE();
  __HAL_RCC_GPIOD_CLK_ENABLE();

  /*Configure GPIO pin Output Level */
  HAL_GPIO_WritePin(LED_GPIO_Port, LED_Pin, GPIO_PIN_RESET);

  /*Configure GPIO pin : LED_Pin */
  GPIO_InitStruct.Pin = LED_Pin;
  GPIO_InitStruct.Mode = GPIO_MODE_OUTPUT_PP;
  GPIO_InitStruct.Pull = GPIO_NOPULL;
  GPIO_InitStruct.Speed = GPIO_SPEED_FREQ_LOW;
  HAL_GPIO_Init(LED_GPIO_Port, &GPIO_InitStruct);

}

 /* MPU Configuration */

void MPU_Config(void)
{
  MPU_Region_InitTypeDef MPU_InitStruct = {0};

  /* Disables the MPU */
  HAL_MPU_Disable();

  /** Initializes and configures the Region and the memory to be protected
  */
  MPU_InitStruct.Enable = MPU_REGION_ENABLE;
  MPU_InitStruct.Number = MPU_REGION_NUMBER0;
  MPU_InitStruct.BaseAddress = 0x0;
  MPU_InitStruct.Size = MPU_REGION_SIZE_4GB;
  MPU_InitStruct.SubRegionDisable = 0x87;
  MPU_InitStruct.TypeExtField = MPU_TEX_LEVEL0;
  MPU_InitStruct.AccessPermission = MPU_REGION_NO_ACCESS;
  MPU_InitStruct.DisableExec = MPU_INSTRUCTION_ACCESS_DISABLE;
  MPU_InitStruct.IsShareable = MPU_ACCESS_SHAREABLE;
  MPU_InitStruct.IsCacheable = MPU_ACCESS_NOT_CACHEABLE;
  MPU_InitStruct.IsBufferable = MPU_ACCESS_NOT_BUFFERABLE;

  HAL_MPU_ConfigRegion(&MPU_InitStruct);
  /* Enables the MPU */
  HAL_MPU_Enable(MPU_PRIVILEGED_DEFAULT);

}

void Error_Handler(void)
{
  __disable_irq();
  while (1)
  {
  }
}
